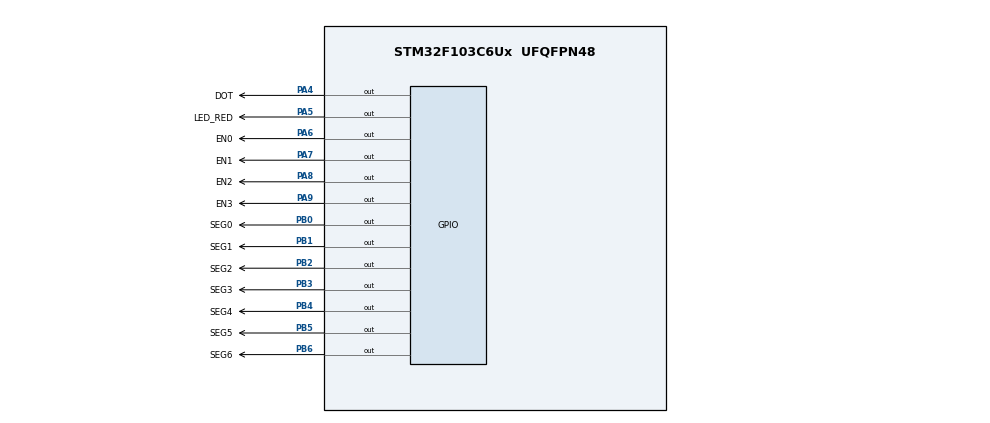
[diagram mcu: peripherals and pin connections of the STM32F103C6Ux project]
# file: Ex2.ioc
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Mcu.Family=STM32F1
Mcu.Name=STM32F103C6Ux
Mcu.Package=UFQFPN48
NVIC.PriorityGroup=NVIC_PRIORITYGROUP_4
NVIC.TIM2_IRQn=true\:0\:0\:false\:false\:true\:true\:true
PA4.GPIO_Label=DOT
PA4.Signal=GPIO_Output
PA5.GPIO_Label=LED_RED
PA5.Signal=GPIO_Output
PA6.GPIO_Label=EN0
PA6.Signal=GPIO_Output
PA7.GPIO_Label=EN1
PA7.Signal=GPIO_Output
PA8.GPIO_Label=EN2
PA8.Signal=GPIO_Output
PA9.GPIO_Label=EN3
PA9.Signal=GPIO_Output
PB0.GPIO_Label=SEG0
PB0.Signal=GPIO_Output
PB1.GPIO_Label=SEG1
PB1.Signal=GPIO_Output
PB2.GPIO_Label=SEG2
PB2.Signal=GPIO_Output
PB3.GPIO_Label=SEG3
PB3.Signal=GPIO_Output
PB4.GPIO_Label=SEG4
PB4.Signal=GPIO_Output
PB5.GPIO_Label=SEG5
PB5.Signal=GPIO_Output
PB6.GPIO_Label=SEG6
PB6.Signal=GPIO_Output
ProjectManager.HeapSize=0x200
ProjectManager.StackSize=0x400
ProjectManager.TargetToolchain=STM32CubeIDE
RCC.APB1Freq_Value=8000000
RCC.APB2Freq_Value=8000000
TIM2.Period=9
TIM2.Prescaler=7999
VP_SYS_VS_ND.Mode=No_Debug
VP_TIM2_VS_ClockSourceINT.Mode=Internal
board=custom

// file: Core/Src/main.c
/* USER CODE BEGIN Header */
/**
  ******************************************************************************
  * @file           : main.c
  * @brief          : Main program body
  ******************************************************************************
  * @attention
  *
  * <h2><center>&copy; Copyright (c) 2025 STMicroelectronics.
  * All rights reserved.</center></h2>
  *
  * This software component is licensed by ST under BSD 3-Clause license,
  * the "License"; You may not use this file except in compliance with the
  * License. You may obtain a copy of the License at:
  *                        opensource.org/licenses/BSD-3-Clause
  *
  ******************************************************************************
  */
/* USER CODE END Header */
#include "main.h"

/* USER CODE BEGIN Includes */
#include "softWareTimer.h"
/* USER CODE END Includes */

TIM_HandleTypeDef htim2;

/* USER CODE BEGIN PV */
TIM_HandleTypeDef htim2;
const uint8_t seg_table[10] = {
    0b1000000, // 0
    0b1111001, // 1
    0b0100100, // 2
    0b0110000, // 3
    0b0011001, // 4
    0b0010010, // 5
    0b0000010, // 6
    0b1111000, // 7
    0b0000000, // 8
    0b0010000  // 9
};
/* USER CODE END PV */

void SystemClock_Config(void);
static void MX_GPIO_Init(void);
static void MX_TIM2_Init(void);

int main(void)
{

  /* MCU Configuration--------------------------------------------------------*/

  /* Reset of all peripherals, Initializes the Flash interface and the Systick. */
  HAL_Init();

  /* Configure the system clock */
  SystemClock_Config();

  /* Initialize all configured peripherals */
  MX_GPIO_Init();
  MX_TIM2_Init();
  /* USER CODE BEGIN 2 */
  HAL_TIM_Base_Start_IT(&htim2);
  /* USER CODE END 2 */

  /* Infinite loop */
  /* USER CODE BEGIN WHILE */
  setTimer(0, 2);
  setTimer(1, 5);
  int led_index = 0; // 0 = LED1, 1 = LED2, 2 = LED3, 3 = LED4
  while (1)
  {
      if (isTimerExpire(0)) {
    	  HAL_GPIO_TogglePin(LED_RED_GPIO_Port, LED_RED_Pin);
          switch (led_index) {
			  case 0:
				  // display number 1 LED1
				  display7SEG(1);
				  HAL_GPIO_WritePin(EN0_GPIO_Port, EN0_Pin, GPIO_PIN_RESET); // turn on LED1
				  HAL_GPIO_WritePin(EN1_GPIO_Port, EN1_Pin, GPIO_PIN_SET);   // turn off LED2
				  HAL_GPIO_WritePin(EN2_GPIO_Port, EN2_Pin, GPIO_PIN_SET);   // turn off LED2
				  HAL_GPIO_WritePin(EN3_GPIO_Port, EN3_Pin, GPIO_PIN_SET);   // turn off LED3
				  led_index = 1;
				  break;

      	  	  case 1:
				  // display number 2 LED2
				  display7SEG(2);
				  HAL_GPIO_WritePin(EN0_GPIO_Port, EN0_Pin, GPIO_PIN_SET);   // turn off LED1
				  HAL_GPIO_WritePin(EN1_GPIO_Port, EN1_Pin, GPIO_PIN_RESET); // turn on LED2
				  HAL_GPIO_WritePin(EN2_GPIO_Port, EN2_Pin, GPIO_PIN_SET);   // turn off LED3
				  HAL_GPIO_WritePin(EN3_GPIO_Port, EN3_Pin, GPIO_PIN_SET); //   turn off LED4
				  led_index = 2;
				  break;

			  case 2:
				  // display number 3 LED3
				  display7SEG(3);
				  HAL_GPIO_WritePin(EN0_GPIO_Port, EN0_Pin, GPIO_PIN_SET); // turn off LED1
				  HAL_GPIO_WritePin(EN1_GPIO_Port, EN1_Pin, GPIO_PIN_SET);   // turn off LED2
				  HAL_GPIO_WritePin(EN2_GPIO_Port, EN2_Pin, GPIO_PIN_RESET);   // turn on LED3
				  HAL_GPIO_WritePin(EN3_GPIO_Port, EN3_Pin, GPIO_PIN_SET);   // turn off LED4
				  led_index = 3;
				  break;

      	  	  case 3:
				  // display number 0 LED4
				  display7SEG(0);
				  HAL_GPIO_WritePin(EN0_GPIO_Port, EN0_Pin, GPIO_PIN_SET);   // turn off LED1
				  HAL_GPIO_WritePin(EN1_GPIO_Port, EN1_Pin, GPIO_PIN_SET); // turn off LED2
				  HAL_GPIO_WritePin(EN2_GPIO_Port, EN2_Pin, GPIO_PIN_SET);   // turn off LED3
				  HAL_GPIO_WritePin(EN3_GPIO_Port, EN3_Pin, GPIO_PIN_RESET); // turn on LED4
				  led_index = 0;
				  break;

			  default:
				  break;
          }
          setTimer(0, 50); // reset timer 0.5s
      }
      if (isTimerExpire(1)) {
    	  HAL_GPIO_TogglePin(DOT_GPIO_Port, DOT_Pin);
    	  setTimer(1, 100);
      }
    /* USER CODE END WHILE */

  }
}

void SystemClock_Config(void)
{
  RCC_OscInitTypeDef RCC_OscInitStruct = {0};
  RCC_ClkInitTypeDef RCC_ClkInitStruct = {0};

  /** Initializes the RCC Oscillators according to the specified parameters
  * in the RCC_OscInitTypeDef structure.
  */
  RCC_OscInitStruct.OscillatorType = RCC_OSCILLATORTYPE_HSI;
  RCC_OscInitStruct.HSIState = RCC_HSI_ON;
  RCC_OscInitStruct.HSICalibrationValue = RCC_HSICALIBRATION_DEFAULT;
  RCC_OscInitStruct.PLL.PLLState = RCC_PLL_NONE;
  if (HAL_RCC_OscConfig(&RCC_OscInitStruct) != HAL_OK)
  {
    Error_Handler();
  }
  /** Initializes the CPU, AHB and APB buses clocks
  */
  RCC_ClkInitStruct.ClockType = RCC_CLOCKTYPE_HCLK|RCC_CLOCKTYPE_SYSCLK
                              |RCC_CLOCKTYPE_PCLK1|RCC_CLOCKTYPE_PCLK2;
  RCC_ClkInitStruct.SYSCLKSource = RCC_SYSCLKSOURCE_HSI;
  RCC_ClkInitStruct.AHBCLKDivider = RCC_SYSCLK_DIV1;
  RCC_ClkInitStruct.APB1CLKDivider = RCC_HCLK_DIV1;
  RCC_ClkInitStruct.APB2CLKDivider = RCC_HCLK_DIV1;

  if (HAL_RCC_ClockConfig(&RCC_ClkInitStruct, FLASH_LATENCY_0) != HAL_OK)
  {
    Error_Handler();
  }
}

static void MX_TIM2_Init(void)
{

  TIM_ClockConfigTypeDef sClockSourceConfig = {0};
  TIM_MasterConfigTypeDef sMasterConfig = {0};

  htim2.Instance = TIM2;
  htim2.Init.Prescaler = 7999;
  htim2.Init.CounterMode = TIM_COUNTERMODE_UP;
  htim2.Init.Period = 9;
  htim2.Init.ClockDivision = TIM_CLOCKDIVISION_DIV1;
  htim2.Init.AutoReloadPreload = TIM_AUTORELOAD_PRELOAD_DISABLE;
  if (HAL_TIM_Base_Init(&htim2) != HAL_OK)
  {
    Error_Handler();
  }
  sClockSourceConfig.ClockSource = TIM_CLOCKSOURCE_INTERNAL;
  if (HAL_TIM_ConfigClockSource(&htim2, &sClockSourceConfig) != HAL_OK)
  {
    Error_Handler();
  }
  sMasterConfig.MasterOutputTrigger = TIM_TRGO_RESET;
  sMasterConfig.MasterSlaveMode = TIM_MASTERSLAVEMODE_DISABLE;
  if (HAL_TIMEx_MasterConfigSynchronization(&htim2, &sMasterConfig) != HAL_OK)
  {
    Error_Handler();
  }

}

static void MX_GPIO_Init(void)
{
  GPIO_InitTypeDef GPIO_InitStruct = {0};

  /* GPIO Ports Clock Enable */
  __HAL_RCC_GPIOA_CLK_ENABLE();
  __HAL_RCC_GPIOB_CLK_ENABLE();

  /*Configure GPIO pin Output Level */
  HAL_GPIO_WritePin(GPIOA, DOT_Pin|LED_RED_Pin|EN0_Pin|EN1_Pin
                          |EN2_Pin|EN3_Pin, GPIO_PIN_RESET);

  /*Configure GPIO pin Output Level */
  HAL_GPIO_WritePin(GPIOB, SEG0_Pin|SEG1_Pin|SEG2_Pin|SEG3_Pin
                          |SEG4_Pin|SEG5_Pin|SEG6_Pin, GPIO_PIN_RESET);

  /*Configure GPIO pins : DOT_Pin LED_RED_Pin EN0_Pin EN1_Pin
                           EN2_Pin EN3_Pin */
  GPIO_InitStruct.Pin = DOT_Pin|LED_RED_Pin|EN0_Pin|EN1_Pin
                          |EN2_Pin|EN3_Pin;
  GPIO_InitStruct.Mode = GPIO_MODE_OUTPUT_PP;
  GPIO_InitStruct.Pull = GPIO_NOPULL;
  GPIO_InitStruct.Speed = GPIO_SPEED_FREQ_LOW;
  HAL_GPIO_Init(GPIOA, &GPIO_InitStruct);

  /*Configure GPIO pins : SEG0_Pin SEG1_Pin SEG2_Pin SEG3_Pin
                           SEG4_Pin SEG5_Pin SEG6_Pin */
  GPIO_InitStruct.Pin = SEG0_Pin|SEG1_Pin|SEG2_Pin|SEG3_Pin
                          |SEG4_Pin|SEG5_Pin|SEG6_Pin;
  GPIO_InitStruct.Mode = GPIO_MODE_OUTPUT_PP;
  GPIO_InitStruct.Pull = GPIO_NOPULL;
  GPIO_InitStruct.Speed = GPIO_SPEED_FREQ_LOW;
  HAL_GPIO_Init(GPIOB, &GPIO_InitStruct);

}

/* USER CODE BEGIN 4 */
void HAL_TIM_PeriodElapsedCallback(TIM_HandleTypeDef* htim)
{
	timerRun();
}
void display7SEG(int num) {
    if (num < 0 || num > 9) return;
    uint8_t pattern = seg_table[num];
    HAL_GPIO_WritePin(SEG0_GPIO_Port, SEG0_Pin, pattern & 0x01);
    HAL_GPIO_WritePin(SEG1_GPIO_Port, SEG1_Pin, (pattern >> 1) & 0x01);
    HAL_GPIO_WritePin(SEG2_GPIO_Port, SEG2_Pin, (pattern >> 2) & 0x01);
    HAL_GPIO_WritePin(SEG3_GPIO_Port, SEG3_Pin, (pattern >> 3) & 0x01);
    HAL_GPIO_WritePin(SEG4_GPIO_Port, SEG4_Pin, (pattern >> 4) & 0x01);
    HAL_GPIO_WritePin(SEG5_GPIO_Port, SEG5_Pin, (pattern >> 5) & 0x01);
    HAL_GPIO_WritePin(SEG6_GPIO_Port, SEG6_Pin, (pattern >> 6) & 0x01);
}
/* USER CODE END 4 */

void Error_Handler(void)
{
  __disable_irq();
  while (1)
  {
  }
}

/************************ (C) COPYRIGHT STMicroelectronics *****END OF FILE****/
